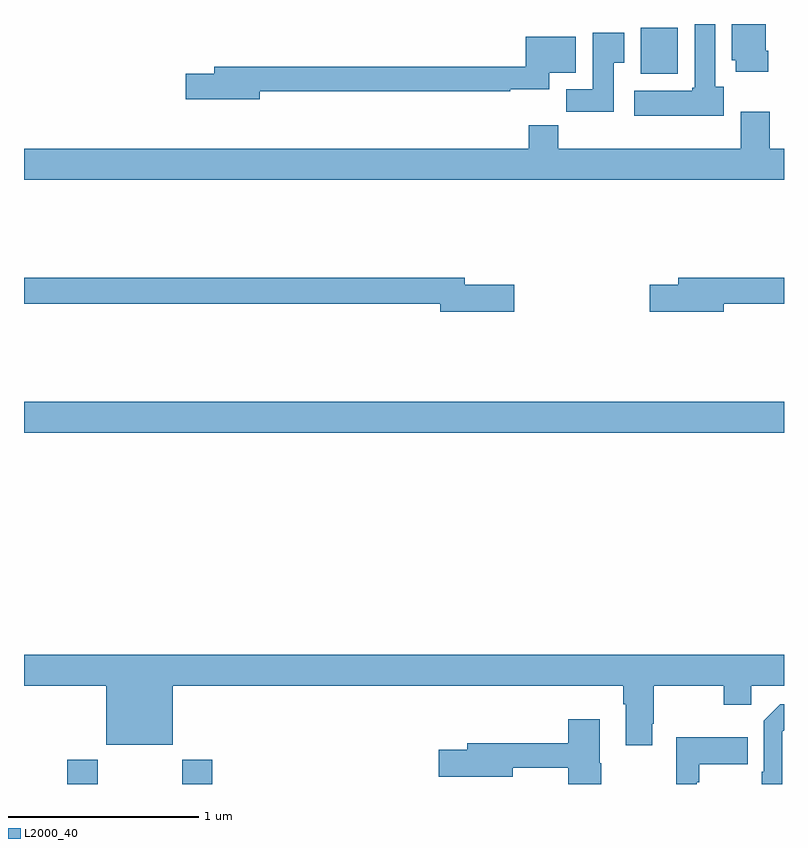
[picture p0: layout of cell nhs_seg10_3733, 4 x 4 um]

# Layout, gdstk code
import gdstk
lib = gdstk.Library(unit=1e-6, precision=1e-09)
def R(c, l, rs):  # rectangles x0, y0, x1, y1
    for r in rs: c.add(gdstk.rectangle(r[:2], r[2:], *l))
def P(c, l, *ps):  # polygons
    for p in ps: c.add(gdstk.Polygon(p, *l))
L2000_40 = (2000, 40)

nhs_seg10_3733 = lib.new_cell('nhs_seg10_3733')
R(nhs_seg10_3733, L2000_40, [(315.227,1266.5,315.387,1266.628), (315.832,1266.5,315.992,1266.628), (315,1268.348,319,1268.512), (318.245,1270.238,318.442,1270.48)])
P(nhs_seg10_3733, L2000_40, [(318.917,1270.36),(318.904,1270.36),(318.904,1270.5),(318.725,1270.5),(318.725,1270.308),(318.746,1270.308),(318.746,1270.248),(318.917,1270.248)],
  [(318.682,1270.17),(318.637,1270.17),(318.637,1270.5),(318.53,1270.5),(318.53,1270.164),(318.517,1270.164),(318.517,1270.15),(318.213,1270.15),(318.213,1270.016),(318.682,1270.016)],
  [(318.103,1270.297),(318.16,1270.297),(318.16,1270.453),(317.993,1270.453),(317.993,1270.156),(317.854,1270.156),(317.854,1270.038),(318.103,1270.038)],
  [(316.24,1270.146),(317.558,1270.146),(317.558,1270.157),(317.764,1270.157),(317.764,1270.244),(317.905,1270.244),(317.905,1270.432),(317.642,1270.432),(317.642,1270.274),(316.001,1270.274),(316.001,1270.238),(315.852,1270.238),(315.852,1270.103),(316.24,1270.103)],
  [(319,1269.844),(318.926,1269.844),(318.926,1270.039),(318.773,1270.039),(318.773,1269.844),(317.813,1269.844),(317.813,1269.968),(317.657,1269.968),(317.657,1269.844),(315,1269.844),(315,1269.68),(319,1269.68)],
  [(317.581,1269.128),(317.32,1269.128),(317.32,1269.164),(315,1269.164),(315,1269.028),(317.192,1269.028),(317.192,1268.986),(317.581,1268.986)],
  [(318.682,1269.028),(319,1269.028),(319,1269.164),(318.443,1269.164),(318.443,1269.128),(318.294,1269.128),(318.294,1268.986),(318.682,1268.986)],
  [(318.307,1266.817),(318.315,1266.817),(318.315,1267.016),(318.682,1267.016),(318.682,1266.917),(318.828,1266.917),(318.828,1267.016),(319,1267.016),(319,1267.18),(315,1267.18),(315,1267.016),(315.434,1267.016),(315.434,1266.707),(315.784,1266.707),(315.784,1267.016),(318.155,1267.016),(318.155,1266.92),(318.167,1266.92),(318.167,1266.705),(318.307,1266.705)],
  [(318.99,1266.774),(319,1266.784),(319,1266.921),(318.981,1266.921),(318.894,1266.834),(318.894,1266.565),(318.882,1266.565),(318.882,1266.5),(318.99,1266.5)],
  [(318.039,1266.609),(318.031,1266.609),(318.031,1266.841),(317.864,1266.841),(317.864,1266.715),(317.333,1266.715),(317.333,1266.681),(317.184,1266.681),(317.184,1266.539),(317.572,1266.539),(317.572,1266.586),(317.864,1266.586),(317.864,1266.5),(318.039,1266.5)],
  [(318.54,1266.509),(318.553,1266.509),(318.553,1266.605),(318.809,1266.605),(318.809,1266.745),(318.432,1266.745),(318.432,1266.5),(318.54,1266.5)])

lib.write_gds('nhs_seg10_3733.gds')
